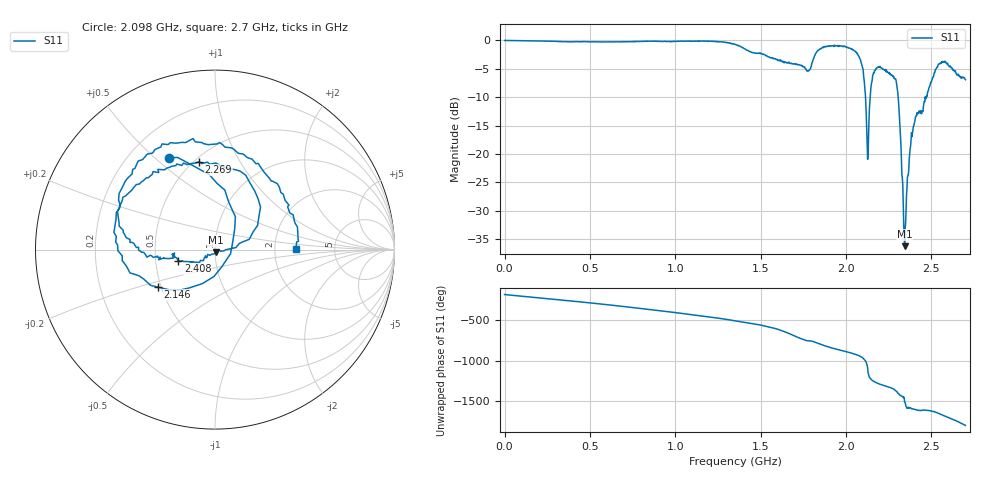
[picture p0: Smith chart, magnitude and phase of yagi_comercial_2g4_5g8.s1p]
! yagi_comercial_2g4_5g8, calibración del PC completa_50k_2700M
# HZ S RI R 50
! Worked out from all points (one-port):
!   1010 points, 50 kHz to 2.7 GHz, reference 50 ohm
!   lowest |S11| = -36.3 dB at 2.344 GHz (marker M1), VSWR 1.03, Z = 50.5 - j1.46 ohm
!   |S11| at or under -10 dB: 2.115 GHz to 2.142 GHz (27.33 MHz wide, 1.28 % of centre); 2.306 GHz to 2.464 GHz (158.3 MHz wide, 6.64 % of centre); 2.465238 GHz to 2.471238 GHz (5.999 MHz wide, 0.243 % of centre)
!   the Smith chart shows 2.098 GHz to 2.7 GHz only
!   S11 on the Smith chart (normalised r, x): 2.098 GHz: 0.37, +0.56; 2.146 GHz: 0.48, -0.23; 2.269 GHz: 0.53, +0.69; 2.408 GHz: 0.66, -0.09; 2.7 GHz: 2.64, +0.01
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50000  -1 -0.00268
3.398851e8  -0.3559 0.9092
5.057889e8  0.2423 0.9432
6.770444e8  0.7786 0.5834
8.509758e8  0.9811 -0.0881
1.014204e9  0.6786 -0.7188
1.190811e9  -0.0812 -0.9852
1.351363e9  -0.7547 -0.5289
1.514591e9  -0.6903 0.3012
1.61895e9  -0.0787 0.664
1.688522e9  0.4968 0.3757
1.814288e9  0.4996 -0.5131
1.870481e9  0.0112 -0.874
1.953433e9  -0.6979 -0.5748
2.025681e9  -0.8507 0.00671
2.09793e9  -0.2565 0.5117
2.124689e9  0.0988 0.0427
2.146095e9  -0.319 -0.2085
2.186233e9  -0.5516 0.1683
2.269185e9  -0.0881 0.4893
2.303972e9  0.2537 0.2358
2.34411e9  0.00535 -0.0144
2.362841e9  -0.0544 -0.0353
2.40833e9  -0.2043 -0.0632
2.491282e9  -0.3967 -0.0157
2.539448e9  -0.5372 0.2755
2.609021e9  0.0102 0.5885
2.7e9  0.4511 0.00176
